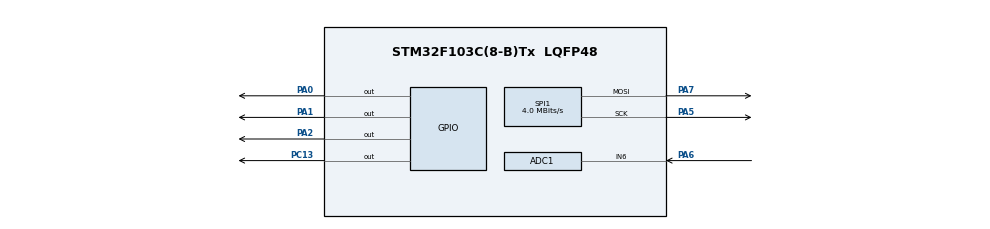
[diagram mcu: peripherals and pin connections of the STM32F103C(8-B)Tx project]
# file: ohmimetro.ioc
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ADC1.Channel-15\#ChannelRegularConversion=ADC_CHANNEL_6
ADC1.NbrOfConversionFlag=1
ADC1.Rank-15\#ChannelRegularConversion=1
ADC1.SamplingTime-15\#ChannelRegularConversion=ADC_SAMPLETIME_1CYCLE_5
ADC1.master=1
Mcu.Family=STM32F1
Mcu.Name=STM32F103C(8-B)Tx
Mcu.Package=LQFP48
NVIC.PriorityGroup=NVIC_PRIORITYGROUP_4
PA0-WKUP.Signal=GPIO_Output
PA1.Signal=GPIO_Output
PA13.Mode=Serial_Wire
PA13.Signal=SYS_JTMS-SWDIO
PA14.Mode=Serial_Wire
PA14.Signal=SYS_JTCK-SWCLK
PA2.Signal=GPIO_Output
PA5.Mode=TX_Only_Simplex_Unidirect_Master
PA5.Signal=SPI1_SCK
PA6.Signal=ADCx_IN6
PA7.Mode=TX_Only_Simplex_Unidirect_Master
PA7.Signal=SPI1_MOSI
PC13-TAMPER-RTC.Signal=GPIO_Output
PD0-OSC_IN.Mode=HSE-External-Oscillator
PD0-OSC_IN.Signal=RCC_OSC_IN
PD1-OSC_OUT.Mode=HSE-External-Oscillator
PD1-OSC_OUT.Signal=RCC_OSC_OUT
ProjectManager.HeapSize=0x200
ProjectManager.StackSize=0x400
ProjectManager.TargetToolchain=TrueSTUDIO
RCC.APB1Freq_Value=8000000
RCC.APB2Freq_Value=8000000
SH.ADCx_IN6.0=ADC1_IN6,IN6
SPI1.CLKPhase=SPI_PHASE_2EDGE
SPI1.CLKPolarity=SPI_POLARITY_HIGH
SPI1.CalculateBaudRate=4.0 MBits/s
SPI1.Direction=SPI_DIRECTION_2LINES
SPI1.Mode=SPI_MODE_MASTER
SPI1.VirtualType=VM_MASTER
board=ohmimetro

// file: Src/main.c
/**
  ******************************************************************************
  * File Name          : main.c
  * Description        : Main program body
  ******************************************************************************
  ** This notice applies to any and all portions of this file
  * that are not between comment pairs USER CODE BEGIN and
  * USER CODE END. Other portions of this file, whether
  * inserted by the user or by software development tools
  * are owned by their respective copyright owners.
  *
  * COPYRIGHT(c) 2017 STMicroelectronics
  *
  * Redistribution and use in source and binary forms, with or without modification,
  * are permitted provided that the following conditions are met:
  *   1. Redistributions of source code must retain the above copyright notice,
  *      this list of conditions and the following disclaimer.
  *   2. Redistributions in binary form must reproduce the above copyright notice,
  *      this list of conditions and the following disclaimer in the documentation
  *      and/or other materials provided with the distribution.
  *   3. Neither the name of STMicroelectronics nor the names of its contributors
  *      may be used to endorse or promote products derived from this software
  *      without specific prior written permission.
  *
  * THIS SOFTWARE IS PROVIDED BY THE COPYRIGHT HOLDERS AND CONTRIBUTORS "AS IS"
  * AND ANY EXPRESS OR IMPLIED WARRANTIES, INCLUDING, BUT NOT LIMITED TO, THE
  * IMPLIED WARRANTIES OF MERCHANTABILITY AND FITNESS FOR A PARTICULAR PURPOSE ARE
  * DISCLAIMED. IN NO EVENT SHALL THE COPYRIGHT HOLDER OR CONTRIBUTORS BE LIABLE
  * FOR ANY DIRECT, INDIRECT, INCIDENTAL, SPECIAL, EXEMPLARY, OR CONSEQUENTIAL
  * DAMAGES (INCLUDING, BUT NOT LIMITED TO, PROCUREMENT OF SUBSTITUTE GOODS OR
  * SERVICES; LOSS OF USE, DATA, OR PROFITS; OR BUSINESS INTERRUPTION) HOWEVER
  * CAUSED AND ON ANY THEORY OF LIABILITY, WHETHER IN CONTRACT, STRICT LIABILITY,
  * OR TORT (INCLUDING NEGLIGENCE OR OTHERWISE) ARISING IN ANY WAY OUT OF THE USE
  * OF THIS SOFTWARE, EVEN IF ADVISED OF THE POSSIBILITY OF SUCH DAMAGE.
  *
  ******************************************************************************
  */

#include "main.h"
#include "stm32f1xx_hal.h"
#include "adc.h"
#include "spi.h"
#include "gpio.h"

/* USER CODE BEGIN Includes */
#include <OledChar.h>
#include <OledDriver.h>
#include <OledGrph.h>
#include <stdio.h>
#include <stdlib.h>
#include <string.h>
/* USER CODE END Includes */

/* USER CODE BEGIN PV */
/* Private variables ---------------------------------------------------------*/

/* USER CODE END PV */

void SystemClock_Config(void);

/* USER CODE BEGIN PFP */
/* Private function prototypes -----------------------------------------------*/

/* USER CODE END PFP */

/* USER CODE BEGIN 0 */
extern const char tabelaad[4096][5];
int R_fixa = 218;        // Resistência fixa do divisor de tensão
int leitura = 0;           // Armazena o valor lido pela entrada analógica (valor entre 0 e 4096)
int resultado = 0;
int Vx;
char string_r[20];
int duas_casas;
int tres_casas;
int quatro_casas;
/* USER CODE END 0 */

int main(void)
{

  /* MCU Configuration----------------------------------------------------------*/

  /* Reset of all peripherals, Initializes the Flash interface and the Systick. */
   HAL_Init();

  /* Configure the system clock */
  SystemClock_Config();

  /* Initialize all configured peripherals */
  MX_GPIO_Init();
  MX_SPI1_Init();
  MX_ADC1_Init();

  /* USER CODE BEGIN 2 */
  OledInit();

  /* USER CODE END 2 */

  /* Infinite loop */
  while (1)
  {

  /* USER CODE BEGIN 3 */
	  HAL_ADC_Start(&hadc1);
	  OledSetCursor(0,0);
	  leitura = HAL_ADC_GetValue(&hadc1); //pino A6
	  char tensao[4] = {tabelaad[leitura][0],tabelaad[leitura][1],tabelaad[leitura][2],tabelaad[leitura][3]};
	  Vx = atoi(tensao);
	  resultado = (int)(((3290*R_fixa)/Vx) - R_fixa);
	  duas_casas = (int)((((3290*R_fixa)/Vx) - R_fixa) -((((3290*R_fixa)/Vx) - R_fixa)*10/100));
	  tres_casas = (int)((((3290*R_fixa)/Vx) - R_fixa) -((((3290*R_fixa)/Vx) - R_fixa)*7/100));
	  quatro_casas = (int)((((3290*R_fixa)/Vx) - R_fixa) -((((3290*R_fixa)/Vx) + R_fixa)*20/100));
	  if (resultado >= 0){
		  OledPutString("Resistencia: ");
		  if (resultado > 0 & resultado < 100){
			  sprintf(string_r,"%d",resultado);
			  OledSetCursor(0,2);
			  OledPutString(string_r);
		  }
		  else if (resultado >= 100 & resultado < 1000){
			  sprintf(string_r,"%d",tres_casas);
			  OledSetCursor(0,2);
			  OledPutString(string_r);
		  }
		  else if (resultado >= 1000 & resultado < 10000){
			  sprintf(string_r,"%d",quatro_casas);
			  OledSetCursor(0,2);
			  OledPutString(string_r);
		  }
//		  sprintf(string_r,"%d",resultado);
//		  OledSetCursor(0,2);
//		  OledPutString(string_r);
		  OledPutString(" Ohms");
		 }

	  else
		  OledPutString("Circuito aberto");

//	  OledPutChar(tabelaad[leitura][0]);
//	  OledPutString(".");
//	  OledPutChar(tabelaad[leitura][1]);
//	  OledPutChar(tabelaad[leitura][2]);
//	  OledPutChar(tabelaad[leitura][3]);
	  HAL_Delay(2000);
	  OledClear();
  }
  /* USER CODE END 3 */

}

/** System Clock Configuration
*/
void SystemClock_Config(void)
{

  RCC_OscInitTypeDef RCC_OscInitStruct;
  RCC_ClkInitTypeDef RCC_ClkInitStruct;
  RCC_PeriphCLKInitTypeDef PeriphClkInit;

    /**Initializes the CPU, AHB and APB busses clocks
    */
  RCC_OscInitStruct.OscillatorType = RCC_OSCILLATORTYPE_HSI;
  RCC_OscInitStruct.HSIState = RCC_HSI_ON;
  RCC_OscInitStruct.HSICalibrationValue = 16;
  RCC_OscInitStruct.PLL.PLLState = RCC_PLL_NONE;
  if (HAL_RCC_OscConfig(&RCC_OscInitStruct) != HAL_OK)
  {
    _Error_Handler(__FILE__, __LINE__);
  }

    /**Initializes the CPU, AHB and APB busses clocks
    */
  RCC_ClkInitStruct.ClockType = RCC_CLOCKTYPE_HCLK|RCC_CLOCKTYPE_SYSCLK
                              |RCC_CLOCKTYPE_PCLK1|RCC_CLOCKTYPE_PCLK2;
  RCC_ClkInitStruct.SYSCLKSource = RCC_SYSCLKSOURCE_HSI;
  RCC_ClkInitStruct.AHBCLKDivider = RCC_SYSCLK_DIV1;
  RCC_ClkInitStruct.APB1CLKDivider = RCC_HCLK_DIV1;
  RCC_ClkInitStruct.APB2CLKDivider = RCC_HCLK_DIV1;

  if (HAL_RCC_ClockConfig(&RCC_ClkInitStruct, FLASH_LATENCY_0) != HAL_OK)
  {
    _Error_Handler(__FILE__, __LINE__);
  }

  PeriphClkInit.PeriphClockSelection = RCC_PERIPHCLK_ADC;
  PeriphClkInit.AdcClockSelection = RCC_ADCPCLK2_DIV2;
  if (HAL_RCCEx_PeriphCLKConfig(&PeriphClkInit) != HAL_OK)
  {
    _Error_Handler(__FILE__, __LINE__);
  }

    /**Configure the Systick interrupt time
    */
  HAL_SYSTICK_Config(HAL_RCC_GetHCLKFreq()/1000);

    /**Configure the Systick
    */
  HAL_SYSTICK_CLKSourceConfig(SYSTICK_CLKSOURCE_HCLK);

  /* SysTick_IRQn interrupt configuration */
  HAL_NVIC_SetPriority(SysTick_IRQn, 0, 0);
}

void _Error_Handler(char * file, int line)
{
  while(1)
  {
  }
}

/************************ (C) COPYRIGHT STMicroelectronics *****END OF FILE****/
